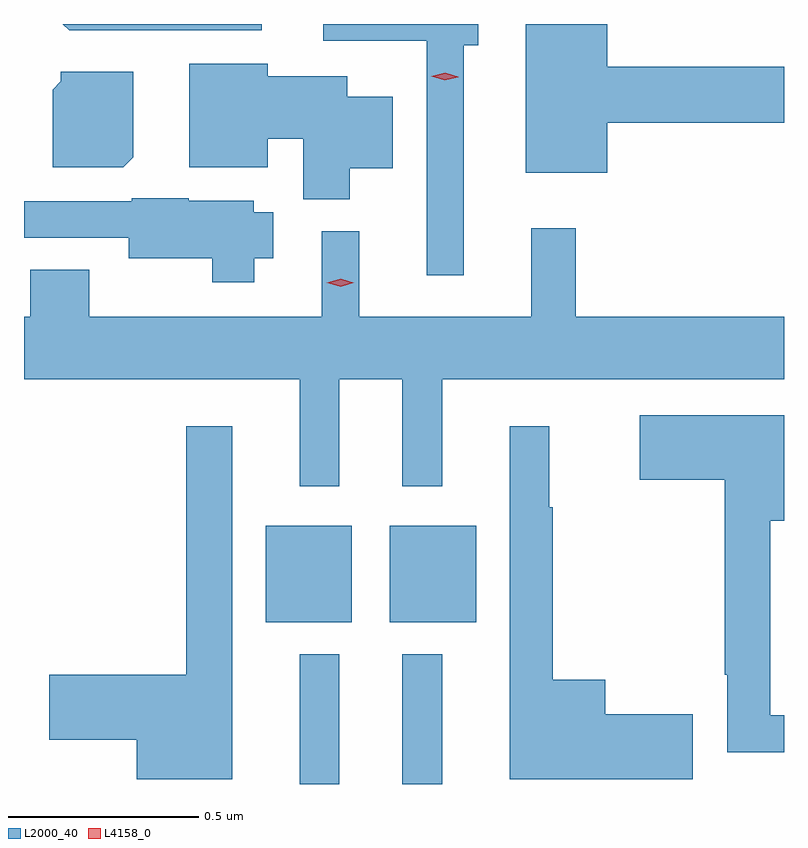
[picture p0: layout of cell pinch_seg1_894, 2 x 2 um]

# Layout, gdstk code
import gdstk
lib = gdstk.Library(unit=1e-6, precision=1e-09)
def R(c, l, rs):  # rectangles x0, y0, x1, y1
    for r in rs: c.add(gdstk.rectangle(r[:2], r[2:], *l))
def P(c, l, *ps):  # polygons
    for p in ps: c.add(gdstk.Polygon(p, *l))
L2000_40 = (2000, 40)
L4158_0 = (4158, 0)

pinch_seg1_894 = lib.new_cell('pinch_seg1_894')
R(pinch_seg1_894, L2000_40, [(482.141,517.367,482.245,517.708), (482.411,517.367,482.515,517.708), (482.051,517.793,482.278,518.047), (482.378,517.793,482.605,518.047)])
P(pinch_seg1_894, L2000_40, [(482.041,519.367),(481.517,519.367),(481.534,519.35),(482.041,519.35)],
  [(482.572,519.311),(482.611,519.311),(482.611,519.367),(482.202,519.367),(482.202,519.323),(482.475,519.323),(482.475,518.706),(482.572,518.706)],
  [(482.95,519.107),(483.415,519.107),(483.415,519.254),(482.95,519.254),(482.95,519.367),(482.735,519.367),(482.735,518.975),(482.95,518.975)],
  [(482.272,518.987),(482.386,518.987),(482.386,519.175),(482.266,519.175),(482.266,519.229),(482.056,519.229),(482.056,519.262),(481.85,519.262),(481.85,518.99),(482.056,518.99),(482.056,519.065),(482.15,519.065),(482.15,518.906),(482.272,518.906)],
  [(481.702,519.016),(481.702,519.241),(481.512,519.241),(481.512,519.216),(481.49,519.194),(481.49,518.99),(481.676,518.99)],
  [(482.021,518.75),(482.071,518.75),(482.071,518.872),(482.02,518.872),(482.02,518.902),(481.848,518.902),(481.848,518.908),(481.698,518.908),(481.698,518.901),(481.415,518.901),(481.415,518.805),(481.691,518.805),(481.691,518.75),(481.911,518.75),(481.911,518.687),(482.021,518.687)],
  [(482.245,518.432),(482.411,518.432),(482.411,518.151),(482.515,518.151),(482.515,518.432),(483.415,518.432),(483.415,518.596),(482.867,518.596),(482.867,518.83),(482.75,518.83),(482.75,518.596),(482.297,518.596),(482.297,518.821),(482.199,518.821),(482.199,518.596),(481.587,518.596),(481.587,518.72),(481.432,518.72),(481.432,518.596),(481.415,518.596),(481.415,518.432),(482.141,518.432),(482.141,518.151),(482.245,518.151)],
  [(483.415,517.548),(483.379,517.548),(483.379,518.06),(483.415,518.06),(483.415,518.338),(483.036,518.338),(483.036,518.168),(483.259,518.168),(483.259,517.655),(483.266,517.655),(483.266,517.451),(483.415,517.451)],
  [(483.175,517.55),(482.944,517.55),(482.944,517.642),(482.807,517.642),(482.807,518.095),(482.797,518.095),(482.797,518.308),(482.693,518.308),(482.693,517.379),(483.175,517.379)],
  [(481.963,518.308),(481.842,518.308),(481.842,517.655),(481.482,517.655),(481.482,517.484),(481.712,517.484),(481.712,517.379),(481.963,517.379)])
P(pinch_seg1_894, L4158_0, [(482.248,518.676),(482.212,518.686),(482.212,518.686),(482.212,518.686),(482.248,518.696),(482.283,518.686),(482.283,518.686),(482.283,518.686)],
  [(482.522,519.219),(482.487,519.23),(482.486,519.23),(482.487,519.23),(482.523,519.239),(482.558,519.228),(482.558,519.228),(482.558,519.227)])

lib.write_gds('pinch_seg1_894.gds')
